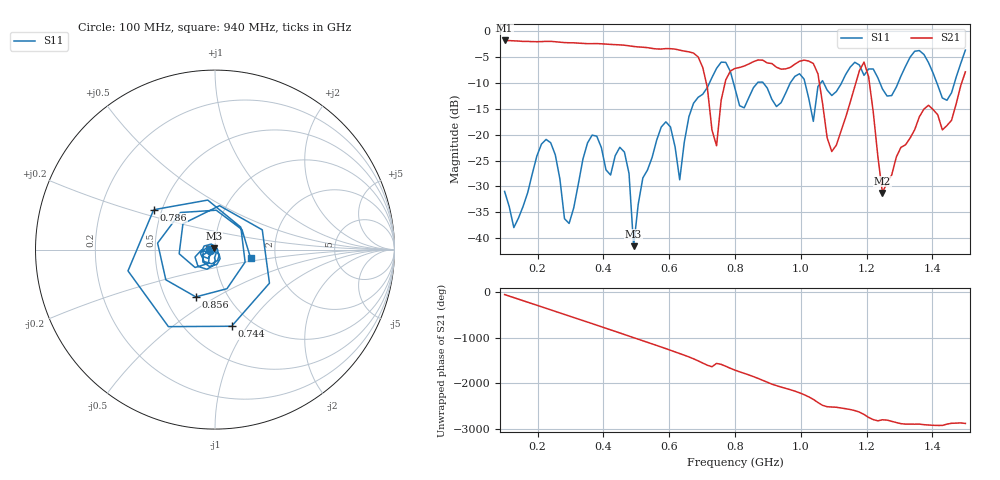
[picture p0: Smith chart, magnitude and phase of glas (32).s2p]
! NanoVNA-App
! Date: 2025-09-25 15:55:43
! Start: 100MHz Stop: 1,5GHz Points: 101
! S-Parameter data: F S11 S21 S12 S22
# Hz S RI R 50
!  Frequency  S11_Real  S11_Imag  S21_Real  S21_Imag  S12_Real  S12_Imag  S22_Real  S22_Imag
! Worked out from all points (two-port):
!   101 points, 100 MHz to 1.5 GHz, reference 50 ohm
!   highest |S21| = -1.80 dB at 100 MHz (marker M1); lowest = -31.2 dB at 1.248 GHz (marker M2)
!   |S21| within 3 dB of the highest: start of sweep to 684.6 MHz
!   lowest |S11| = -41.5 dB at 492 MHz (marker M3), VSWR 1.02, Z = 49.5 + j0.629 ohm
!   |S11| at or under -10 dB: start of sweep to 722.5 MHz; 795.4 MHz to 868.1 MHz (72.76 MHz wide, 8.75 % of centre); 885.9 MHz to 967.9 MHz (82.01 MHz wide, 8.85 % of centre) (the widest 3 of 7)
!   S12 and S22 are empty: the file has one direction only
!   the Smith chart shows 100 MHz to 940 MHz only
!   S11 on the Smith chart (normalised r, x): 100 MHz: 0.95, -0.01; 744 MHz: 0.80, -0.85; 786 MHz: 0.45, +0.24; 856 MHz: 0.71, -0.41; 940 MHz: 1.49, -0.15
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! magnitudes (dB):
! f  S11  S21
! 100 MHz  -31.0  -1.8
! 128 MHz  -37.9  -1.9
! 226 MHz  -20.9  -2.0
! 296 MHz  -37.1  -2.2
! 338 MHz  -24.7  -2.4
! 464 MHz  -23.4  -2.7
! 492 MHz  -41.5  -3.0
! 576 MHz  -18.5  -3.5
! 632 MHz  -28.7  -3.7
! 702 MHz  -12.2  -7.0
! 744 MHz  -7.2  -22.1
! 786 MHz  -7.8  -7.7
! 800 MHz  -11.1  -7.2
! 856 MHz  -10.9  -5.9
! 940 MHz  -13.8  -7.3
! 996 MHz  -8.2  -5.8
! 1.038 GHz  -17.4  -6.3
! 1.094 GHz  -12.4  -23.2
! 1.192 GHz  -8.5  -6.0
! 1.248 GHz  -11.2  -31.2
! 1.276 GHz  -12.4  -27.8
! 1.5 GHz  -3.7  -7.9
